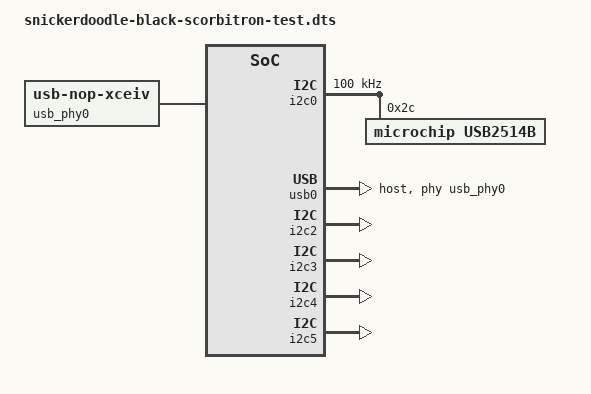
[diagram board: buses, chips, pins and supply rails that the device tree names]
/**
 * Copyright (c) 2018 krtkl inc.
 *
 * snickerdoodle Black Scorbitron Device Tree Source
 *
 * This program is free software; you can redistribute it and/or modify it
 * under the terms of the GNU General Public License version 2 as published by
 * the Free Software Foundation.
 */

/dts-v1/;
/include/ "snickerdoodle-black.dtsi"

/ {
	usb_phy0: usb-phy0 {
		compatible = "usb-nop-xceiv";
		#phy-cells = <0>;
		view-port = <0x170>;
		drv-vbus;
	};
};

&i2c0 {
	status = "okay";
	clock-frequency = <100000>;
	
	usb2514b@2c {
		compatible = "microchip,usb2514b";
		reg = <0x2c>;
	};
};

&usb0 {
	status = "okay";
	dr_mode = "host";
	usb-phy = <&usb_phy0>;
};

&fpga_full {
	i2c2: i2c@41600000 {
		compatible = "xlnx,xps-iic-2.00.a";
		reg = <0x41600000 0x10000>;
		interrupt-parent = <&intc>;
		interrupts = <0 59 4>;
		#address-cells = <1>;
		#size-cells = <0>;
	};
	
	i2c3: i2c@41610000 {
		compatible = "xlnx,xps-iic-2.00.a";
		reg = <0x41610000 0x10000>;
		interrupt-parent = <&intc>;
		interrupts = <0 58 4>;
		#address-cells = <1>;
		#size-cells = <0>;
	};

	i2c4: i2c@41620000 {
		compatible = "xlnx,xps-iic-2.00.a";
		reg = <0x41620000 0x10000>;
		interrupt-parent = <&intc>;
		interrupts = <0 57 4>;
		#address-cells = <1>;
		#size-cells = <0>;
	};

	i2c5: i2c@41630000 {
		compatible = "xlnx,xps-iic-2.00.a";
		reg = <0x41630000 0x10000>;
		interrupt-parent = <&intc>;
		interrupts = <0 56 4>;
		#address-cells = <1>;
		#size-cells = <0>;
	};
};
